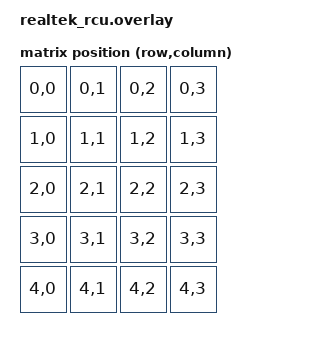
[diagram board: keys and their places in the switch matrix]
#include <dt-bindings/zmk/matrix_transform.h>
#include <dt-bindings/led/led.h>
#include <zephyr/dt-bindings/gpio/realtek-rtl8752h-gpio.h>

&gpio {
    status = "okay";
};

//&corewdt {
//    status = "disabled";
//    initial-timeout-ms = <5000>;
//};
//
//&aonwdt {
//    status = "okay";
//    initial-timeout-ms = <5000>;
//};
//
/// {
//    aliases {
//        watchdog = &aonwdt;
//    };
//};

&adc {
    pinctrl-0 = <&adc_default>;
    pinctrl-names = "default";
    #address-cells = <1>;
    #size-cells = <0>;
    status = "okay";
    is-bypass-mode;
    channel@2 {
        reg = <2>;
        zephyr,gain = "ADC_GAIN_1";
        zephyr,reference = "ADC_REF_INTERNAL";
        zephyr,acquisition-time = <ADC_ACQ_TIME_DEFAULT>;
        zephyr,resolution = <12>;
    };
};
/ {
    chosen {
        zmk,kscan = &kscan;
        zmk,matrix-transform = &default_transform;
        zmk,battery = &vbatt;
    };

    vbatt: vbatt {
        compatible = "zmk,battery-voltage-divider";
        io-channels = <&adc 2>;
        output-ohms = <100000>;
        full-ohms = <(100000 + 100000)>;
    };

};

/{
//    gpio_leds: gpio_leds {
//        compatible = "zmk,gpio-leds-all";
//        pwr-gpios = <&gpio 29 GPIO_ACTIVE_HIGH>;
//        cap-gpios = <&gpio 28 GPIO_ACTIVE_HIGH>;
//        num-gpios = <&gpio 16 GPIO_ACTIVE_HIGH>;
//        ble-gpios = <&gpio 27 GPIO_ACTIVE_HIGH>;
//        ppt-gpios = <&gpio 26 GPIO_ACTIVE_HIGH>;
//        other-gpios = <&gpio 23 GPIO_ACTIVE_HIGH>;
//    };

    default_transform: matrix_transform {
        compatible = "zmk,matrix-transform";
        rows = <5>;
        columns = <4>;
        map = <
            RC(0,0) RC(0,1) RC(0,2) RC(0,3) 
            RC(1,0) RC(1,1) RC(1,2) RC(1,3)
            RC(2,0) RC(2,1) RC(2,2) RC(2,3)
            RC(3,0) RC(3,1) RC(3,2) RC(3,3) 
            RC(4,0) RC(4,1) RC(4,2) RC(4,3) 
        >;
    };
 };

&kscan {
    pinctrl-0 = <&kscan_default>;
    pinctrl-1 = <&kscan_sleep>;
    pinctrl-names = "default", "sleep";
    row-size = <5>;
    col-size = <4>;
    debounce-time-us = <10000>;
    scan-time-us = <10000>;
    release-time-us = <10000>;
    scan-debounce-cnt = <1>;
    status = "okay";
};

&ir {
 	status = "okay";
 	pinctrl-0 = <&ir_tx>;
 	pinctrl-1 = <&ir_rx>;
 	pinctrl-names = "ir-tx", "ir-rx";
 };

&pinctrl {
 	ir_tx: ir_tx {
 		group1 {
 			psels = <RTL8752H_PSEL(IRDA_TX, P0_5, DIR_OUT, DRV_HIGH, PULL_NONE)>;
 		};
 	};
 	ir_rx: ir_rx {
 		group1 {
 			psels = <RTL8752H_PSEL(IRDA_RX, P0_6, DIR_OUT, DRV_HIGH, PULL_NONE)>;
 		};
 	};
    adc_default: adc_default {
        group1 {
             psels = <RTL8752H_PSEL(SW_MODE, P2_2, DIR_IN, DRV_LOW, PULL_NONE)>;
        };
    };
    kscan_default: kscan_default {
        group1 {
            psels =
            <RTL8752H_PSEL(KEY_COL_0, P4_3, DIR_OUT, DRV_LOW, PULL_NONE)>,
            <RTL8752H_PSEL(KEY_COL_1, P4_2, DIR_OUT, DRV_LOW, PULL_NONE)>,
            <RTL8752H_PSEL(KEY_COL_2, P4_1, DIR_OUT, DRV_LOW, PULL_NONE)>,
            <RTL8752H_PSEL(KEY_COL_3, P4_0, DIR_OUT, DRV_LOW, PULL_NONE)>;
        };
        group2 {
            psels =
            <RTL8752H_PSEL(KEY_ROW_0, P0_0, DIR_IN, DRV_LOW, PULL_UP)>,
            <RTL8752H_PSEL(KEY_ROW_1, P0_1, DIR_IN, DRV_LOW, PULL_UP)>,
            <RTL8752H_PSEL(KEY_ROW_2, P0_2, DIR_IN, DRV_LOW, PULL_UP)>,
            <RTL8752H_PSEL(KEY_ROW_3, P0_4, DIR_IN, DRV_LOW, PULL_UP)>,
            <RTL8752H_PSEL(KEY_ROW_4, P1_7, DIR_IN, DRV_LOW, PULL_UP)>;
            bias-pull-strong;
        };
        };
    kscan_sleep: kscan_sleep {
        group1 {
            psels =
            <RTL8752H_PSEL(SW_MODE, P4_3, DIR_OUT, DRV_LOW, PULL_DOWN)>,
            <RTL8752H_PSEL(SW_MODE, P4_2, DIR_OUT, DRV_LOW, PULL_DOWN)>,
            <RTL8752H_PSEL(SW_MODE, P4_1, DIR_OUT, DRV_LOW, PULL_DOWN)>,
            <RTL8752H_PSEL(SW_MODE, P4_0, DIR_OUT, DRV_LOW, PULL_DOWN)>;
        };
        group2 {
            psels =
            <RTL8752H_PSEL(SW_MODE, P0_0, DIR_IN, DRV_HIGH, PULL_UP)>,
            <RTL8752H_PSEL(SW_MODE, P0_1, DIR_IN, DRV_HIGH, PULL_UP)>,
            <RTL8752H_PSEL(SW_MODE, P0_2, DIR_IN, DRV_HIGH, PULL_UP)>,
            <RTL8752H_PSEL(SW_MODE, P0_4, DIR_IN, DRV_HIGH, PULL_UP)>,
            <RTL8752H_PSEL(SW_MODE, P1_7, DIR_IN, DRV_HIGH, PULL_UP)>;
            bias-pull-strong;
            wakeup-low;
        };
        };
};

